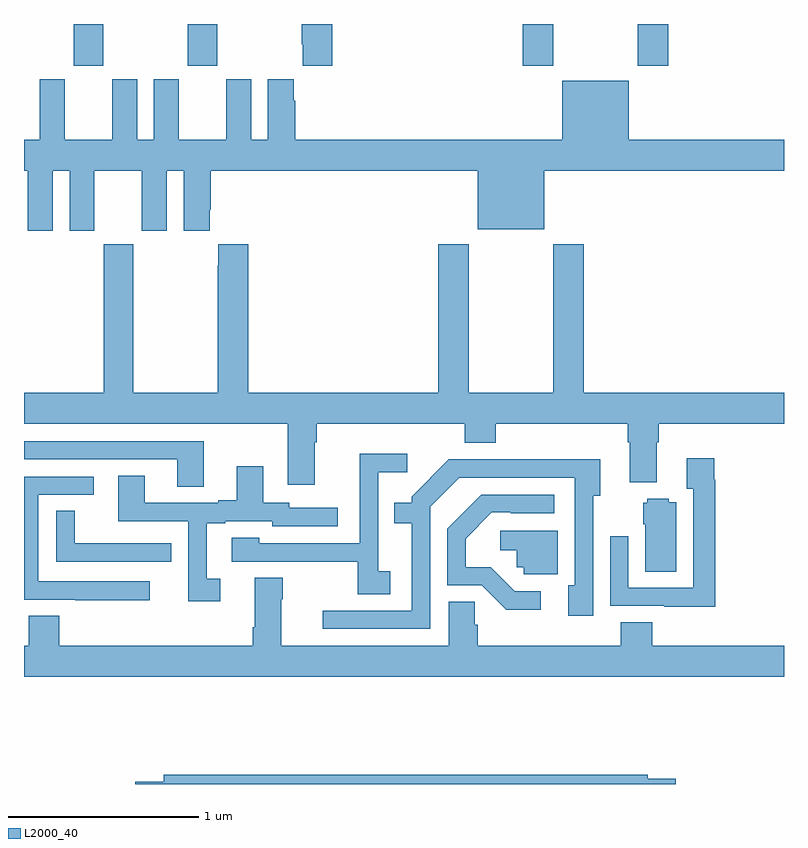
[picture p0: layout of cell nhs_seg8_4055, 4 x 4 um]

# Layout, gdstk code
import gdstk
lib = gdstk.Library(unit=1e-6, precision=1e-09)
def R(c, l, rs):  # rectangles x0, y0, x1, y1
    for r in rs: c.add(gdstk.rectangle(r[:2], r[2:], *l))
def P(c, l, *ps):  # polygons
    for p in ps: c.add(gdstk.Polygon(p, *l))
L2000_40 = (2000, 40)

nhs_seg8_4055 = lib.new_cell('nhs_seg8_4055')
R(nhs_seg8_4055, L2000_40, [(359.263,1155.681,359.418,1155.9), (359.863,1155.681,360.018,1155.9), (361.625,1155.681,361.785,1155.9), (362.23,1155.681,362.39,1155.9)])
P(nhs_seg8_4055, L2000_40, [(360.623,1155.9),(360.463,1155.9),(360.463,1155.793),(360.467,1155.793),(360.467,1155.681),(360.623,1155.681)],
  [(359.84,1154.811),(359.977,1154.811),(359.977,1154.923),(359.984,1154.923),(359.984,1155.128),(361.388,1155.128),(361.388,1154.819),(361.738,1154.819),(361.738,1155.128),(363,1155.128),(363,1155.292),(362.182,1155.292),(362.182,1155.601),(361.832,1155.601),(361.832,1155.292),(360.428,1155.292),(360.428,1155.497),(360.421,1155.497),(360.421,1155.61),(360.284,1155.61),(360.284,1155.292),(360.196,1155.292),(360.196,1155.61),(360.065,1155.61),(360.065,1155.292),(359.815,1155.292),(359.815,1155.61),(359.684,1155.61),(359.684,1155.292),(359.596,1155.292),(359.596,1155.61),(359.465,1155.61),(359.465,1155.292),(359.215,1155.292),(359.215,1155.61),(359.084,1155.61),(359.084,1155.292),(359,1155.292),(359,1155.128),(359.021,1155.128),(359.021,1154.811),(359.152,1154.811),(359.152,1155.128),(359.24,1155.128),(359.24,1154.811),(359.371,1154.811),(359.371,1155.128),(359.621,1155.128),(359.621,1154.811),(359.752,1154.811),(359.752,1155.128),(359.84,1155.128)],
  [(360.529,1153.7),(360.542,1153.7),(360.542,1153.796),(361.319,1153.796),(361.319,1153.697),(361.484,1153.697),(361.484,1153.796),(362.177,1153.796),(362.177,1153.7),(362.189,1153.7),(362.189,1153.487),(362.329,1153.487),(362.329,1153.7),(362.342,1153.7),(362.342,1153.796),(363,1153.796),(363,1153.96),(361.946,1153.96),(361.946,1154.74),(361.786,1154.74),(361.786,1153.96),(361.341,1153.96),(361.341,1154.74),(361.181,1154.74),(361.181,1153.96),(360.179,1153.96),(360.179,1154.74),(360.023,1154.74),(360.023,1154.627),(360.019,1154.627),(360.019,1153.96),(359.574,1153.96),(359.574,1154.74),(359.419,1154.74),(359.419,1153.96),(359,1153.96),(359,1153.796),(360.389,1153.796),(360.389,1153.476),(360.529,1153.476)],
  [(359.947,1153.704),(359,1153.704),(359,1153.608),(359.807,1153.608),(359.807,1153.465),(359.947,1153.465)],
  [(360.928,1153.02),(360.864,1153.02),(360.864,1153.541),(361.018,1153.541),(361.018,1153.639),(360.766,1153.639),(360.766,1153.4),(360.768,1153.4),(360.768,1153.167),(360.237,1153.167),(360.237,1153.195),(360.093,1153.195),(360.093,1153.071),(360.451,1153.071),(360.451,1153.069),(360.756,1153.069),(360.756,1152.898),(360.928,1152.898)],
  [(362.639,1153.502),(362.632,1153.502),(362.632,1153.615),(362.489,1153.615),(362.489,1153.454),(362.523,1153.454),(362.523,1152.933),(362.181,1152.933),(362.181,1153.204),(362.085,1153.204),(362.085,1152.837),(362.369,1152.837),(362.369,1152.833),(362.639,1152.833)],
  [(361.137,1153.359),(361.29,1153.512),(361.899,1153.512),(361.899,1152.946),(361.865,1152.946),(361.865,1152.786),(361.995,1152.786),(361.995,1153.418),(362.032,1153.418),(362.032,1153.61),(361.567,1153.61),(361.567,1153.608),(361.236,1153.608),(361.041,1153.413),(361.041,1153.381),(360.949,1153.381),(360.949,1153.272),(361.04,1153.272),(361.04,1152.813),(360.573,1152.813),(360.573,1152.717),(361.137,1152.717)],
  [(360.034,1152.981),(359.962,1152.981),(359.962,1153.272),(360.058,1153.272),(360.058,1153.284),(360.306,1153.284),(360.306,1153.257),(360.652,1153.257),(360.652,1153.353),(360.396,1153.353),(360.396,1153.38),(360.259,1153.38),(360.259,1153.573),(360.119,1153.573),(360.119,1153.393),(360.023,1153.393),(360.023,1153.38),(359.635,1153.38),(359.635,1153.523),(359.495,1153.523),(359.495,1153.284),(359.865,1153.284),(359.865,1152.861),(360.034,1152.861)],
  [(359.662,1152.966),(359.076,1152.966),(359.076,1153.422),(359.368,1153.422),(359.368,1153.518),(359,1153.518),(359,1152.87),(359.269,1152.87),(359.269,1152.868),(359.662,1152.868)],
  [(361.72,1152.915),(361.584,1152.915),(361.457,1153.042),(361.324,1153.042),(361.324,1153.192),(361.461,1153.329),(361.561,1153.329),(361.561,1153.326),(361.792,1153.326),(361.792,1153.422),(361.406,1153.422),(361.227,1153.243),(361.227,1152.945),(361.41,1152.945),(361.538,1152.818),(361.72,1152.818)],
  [(362.434,1153.384),(362.394,1153.384),(362.394,1153.402),(362.28,1153.402),(362.28,1153.38),(362.258,1153.38),(362.258,1153.266),(362.27,1153.266),(362.27,1153.018),(362.434,1153.018)],
  [(359.776,1153.166),(359.663,1153.166),(359.663,1153.167),(359.268,1153.167),(359.268,1153.337),(359.169,1153.337),(359.169,1153.071),(359.776,1153.071)],
  [(361.81,1153.233),(361.506,1153.233),(361.506,1153.13),(361.593,1153.13),(361.593,1153.041),(361.629,1153.041),(361.629,1153.005),(361.81,1153.005)],
  [(363,1152.628),(362.306,1152.628),(362.306,1152.752),(362.141,1152.752),(362.141,1152.628),(361.388,1152.628),(361.388,1152.738),(361.373,1152.738),(361.373,1152.86),(361.235,1152.86),(361.235,1152.628),(360.355,1152.628),(360.355,1152.872),(360.363,1152.872),(360.363,1152.985),(360.215,1152.985),(360.215,1152.724),(360.203,1152.724),(360.203,1152.628),(359.186,1152.628),(359.186,1152.785),(359.026,1152.785),(359.026,1152.628),(359,1152.628),(359,1152.464),(363,1152.464)],
  [(362.429,1151.928),(362.282,1151.928),(362.282,1151.948),(359.735,1151.948),(359.735,1151.912),(359.586,1151.912),(359.586,1151.9),(362.429,1151.9)])

lib.write_gds('nhs_seg8_4055.gds')
